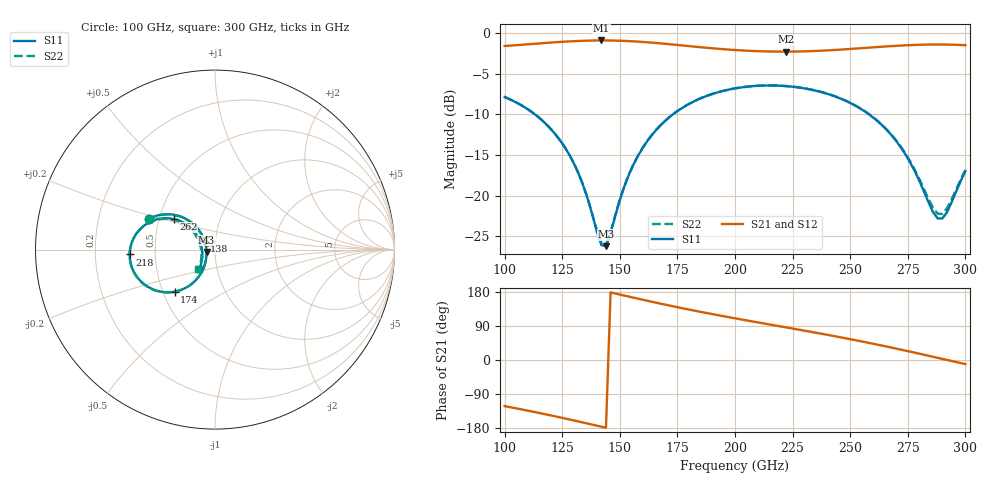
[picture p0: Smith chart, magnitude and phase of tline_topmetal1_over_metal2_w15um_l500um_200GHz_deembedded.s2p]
! Created with skrf 2.2.0 (http://scikit-rf.org).
# GHz S DB R 50.0
! Port[1] = P1
! Port[2] = P2
!freq dBS11 angS11 dBS21 angS21 dBS12 angS12 dBS22 angS22
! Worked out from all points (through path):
!   101 points, 100 GHz to 300 GHz, reference 50 ohm
!   highest |S21| = -0.89 dB at 142 GHz (marker M1); lowest = -2.3 dB at 222 GHz (marker M2)
!   group delay of S21, straight-line fit = 3.39 ps
!   lowest |S11| = -26.2 dB at 144 GHz (marker M3), VSWR 1.10, Z = 45.5 - j1.19 ohm
!   |S11| at or under -10 dB: 113.2 GHz to 173 GHz (59.81 GHz wide, 41.8 % of centre); 258.2 GHz to end of sweep
!   |S22| runs from -26.0 to -6.4 dB; largest |S21 - S12| = 1e-14
!   S11 on the Smith chart (normalised r, x): 100 GHz: 0.44, +0.18; 138 GHz: 0.88, +0.09; 174 GHz: 0.58, -0.30; 218 GHz: 0.36, -0.02; 262 GHz: 0.59, +0.22; 300 GHz: 0.82, -0.19
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100  -7.85 154.9  -1.57 -121.7  -1.57 -121.7  -7.85 155.2
120  -11.77 135.3  -1.15 -146.2  -1.15 -146.2  -11.76 135.7
128  -14.92 129.9  -1.01 -156.8  -1.01 -156.8  -14.90 130.4
134  -18.65 130.7  -0.93 -164.9  -0.93 -164.9  -18.61 131.5
138  -22.26 139.6  -0.90 -170.5  -0.90 -170.5  -22.17 140.6
142  -26.08 170.3  -0.89 -176.1  -0.89 -176.1  -25.86 171.0
144  -26.20 -164.6  -0.89 -178.9  -0.89 -178.9  -25.98 -164.6
152  -18.83 -122.2  -0.95 170.0  -0.95 170.0  -18.79 -122.5
156  -16.12 -120.6  -1.00 164.4  -1.00 164.4  -16.09 -120.7
168  -11.24 -128.1  -1.26 148.3  -1.26 148.3  -11.23 -128.0
174  -9.78 -133.8  -1.42 140.6  -1.42 140.6  -9.77 -133.7
200  -6.79 -159.7  -2.07 110.0  -2.07 110.0  -6.78 -159.4
218  -6.44 -176.8  -2.26 90.5  -2.26 90.5  -6.43 -176.3
222  -6.51 179.5  -2.26 86.2  -2.26 86.2  -6.49 180.0
234  -7.00 168.3  -2.19 73.2  -2.19 73.2  -6.99 168.9
248  -8.31 155.4  -1.98 57.3  -1.98 57.3  -8.29 156.1
262  -10.85 143.5  -1.70 40.3  -1.70 40.3  -10.81 144.5
268  -12.58 139.6  -1.58 32.6  -1.58 32.6  -12.51 140.9
276  -15.89 138.6  -1.47 22.0  -1.47 22.0  -15.75 140.3
288  -22.80 178.0  -1.39 5.7  -1.39 5.7  -22.21 178.6
292  -22.03 -152.8  -1.40 0.2  -1.40 0.2  -21.55 -154.2
300  -16.97 -128.6  -1.47 -10.8  -1.47 -10.8  -16.83 -130.0
